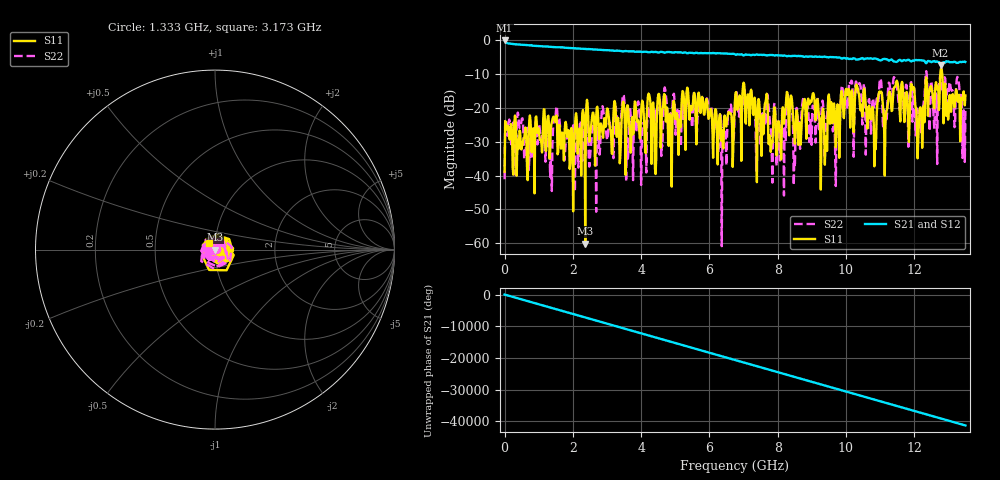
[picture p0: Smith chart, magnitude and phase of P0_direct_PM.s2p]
!Agilent Technologies,N5230A,MY45000845,A.06.01.05
!Agilent N5230A: A.06.01.05
!Date: Wednesday, February 05, 2014 16:43:17
!Correction: S11(Full 2 Port(1,2)) S21(Full 2 Port(1,2)) S12(Full 2 Port(1,2)) S22(Full 2 Port(1,2))
!S2P File: Measurements: S11, S21, S12, S22:
# Hz S  dB  R 50
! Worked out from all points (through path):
!   801 points, 300 kHz to 13.5 GHz, reference 50 ohm
!   highest |S21| = -0.04 dB at 300 kHz (marker M1); lowest = -7.3 dB at 12.77 GHz (marker M2)
!   lowest |S11| = -60.1 dB at 2.363 GHz (marker M3), VSWR 1.00, Z = 50.1 - j0.0682 ohm
!   |S11| at or under -10 dB: start of sweep to 12.77 GHz; 12.82 GHz to end of sweep
!   |S22| runs from -60.9 to -9.1 dB; largest |S21 - S12| = 0.01
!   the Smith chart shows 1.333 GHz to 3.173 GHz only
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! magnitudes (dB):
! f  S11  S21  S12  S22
! 300 kHz  -38.9  0.0  0.0  -41.1
! 439 MHz  -26.7  -1.3  -1.3  -25.9
! 1.317 GHz  -34.9  -1.9  -1.9  -30.8
! 1.502 GHz  -22.9  -2.0  -2.0  -21.2
! 2.261 GHz  -25.4  -2.5  -2.5  -35.2
! 2.363 GHz  -60.1  -2.5  -2.5  -25.3
! 2.734 GHz  -21.5  -2.8  -2.8  -25.9
! 4.506 GHz  -15.9  -3.6  -3.6  -17.0
! 5.974 GHz  -23.2  -3.8  -3.8  -19.1
! 6.311 GHz  -21.9  -3.9  -3.9  -21.9
! 6.75 GHz  -17.8  -4.2  -4.1  -18.7
! 7.645 GHz  -18.4  -4.4  -4.4  -25.1
! 7.796 GHz  -33.0  -4.3  -4.3  -25.7
! 9.011 GHz  -16.7  -4.8  -4.9  -21.1
! 9.332 GHz  -20.2  -4.9  -4.9  -19.0
! 10.04 GHz  -16.2  -5.3  -5.3  -20.3
! 10.82 GHz  -25.3  -5.4  -5.3  -19.2
! 11.26 GHz  -15.9  -6.0  -6.0  -12.5
! 11.95 GHz  -14.6  -6.0  -5.9  -24.1
! 12.17 GHz  -20.0  -5.9  -5.8  -22.7
! 12.77 GHz  -8.7  -7.3  -7.3  -10.1
! 13.5 GHz  -16.3  -6.4  -6.5  -20.8
